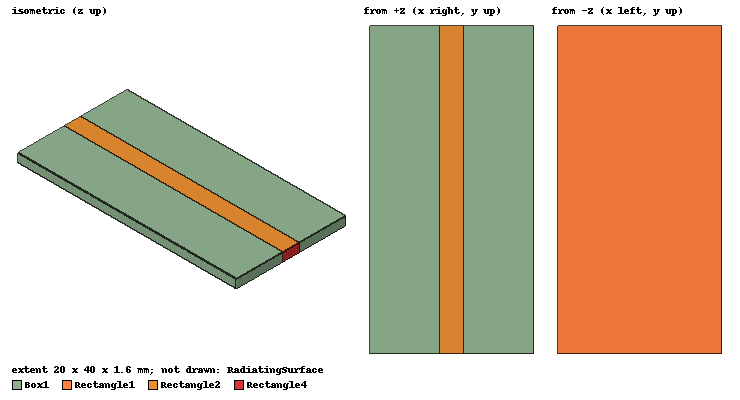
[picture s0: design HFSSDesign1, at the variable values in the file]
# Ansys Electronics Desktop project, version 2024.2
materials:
  vacuum: permittivity=1
  FR4_epoxy: permittivity=4.4 dielectric_loss_tangent=0.02
  air: permittivity=1.0006 permeability=1.0000004

design HFSSDesign1 (HFSS, HFSS Terminal Network, model units mm)
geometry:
  Rectangle1 = rectangle(corner=(0mm, 0mm, 0mm), x_size=20mm, y_size=40mm)
  Box1 [FR4_epoxy] = box(corner=(0mm, 0mm, 0mm), size=(20mm, 40mm, 1.6mm))
  Rectangle2 = rectangle(corner=((10-1.5) mm, 0mm, 1.6mm), x_size=3mm, y_size=40mm)
  Rectangle3 = rectangle(corner=(8.5mm, 0mm, 1.6mm), z_size=-1.6mm, x_size=3mm)
  Rectangle4 = rectangle(corner=(11.5mm, 40mm, 1.6mm), z_size=-1.6mm, x_size=-3mm)
  RadiatingSurface [air] = region(absolute_offset=20mm on all sides)
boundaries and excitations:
  PerfE1: Perfect E Objects=[Rectangle1, Rectangle2]
  Open1: Radiation Objects=RadiatingSurface
  1: Lumped Port Objects=Rectangle4 LumpedPortType=Modal Modes{Mode1{IntLine{(10, 40, 1.6) -> (10, 40, 0)} CharImp=Zpi}} Impedance=50ohm
  2: Lumped Port Objects=Rectangle3 LumpedPortType=Modal Modes{Mode1{IntLine{(10, 0, 1.6) -> (10, 0, 0)} CharImp=Zpi}} Impedance=50ohm
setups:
  Setup1: HfssDriven Frequency=5GHz MaxDeltaS=0.02 MaximumPasses=6 MinimumPasses=1 MinimumConvergedPasses=1 PercentRefinement=30 BasisOrder=1 PortAccuracy=2 DrivenSolverType="Direct Solver"
    sweep Sweep: 1GHz to 20GHz step 0.1GHz; Type=Fast SaveFields
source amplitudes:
  1:1: 0W 0deg
  2:1: 1W 0deg
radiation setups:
  3D: Infinite Sphere Theta=0deg..180deg step 2deg Phi=-180deg..180deg step 2deg
  Elevation: Infinite Sphere Theta=-180deg..180deg step 1deg Phi=0deg..90deg step 90deg
  Azimuth: Infinite Sphere Theta=90deg..90deg step 0deg Phi=-180deg..180deg step 1deg
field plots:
  Mag_E1: E Field over Rectangle2.face on Setup1 : LastAdaptive at Freq=5GHz Phase=0deg
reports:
  S Parameter Plot 1: dB(S(1,1)), dB(S(2,1)), dB(S(1,2)), dB(S(2,2)) vs Freq on Setup1 : Sweep; markers MX1 at x=1e+10
